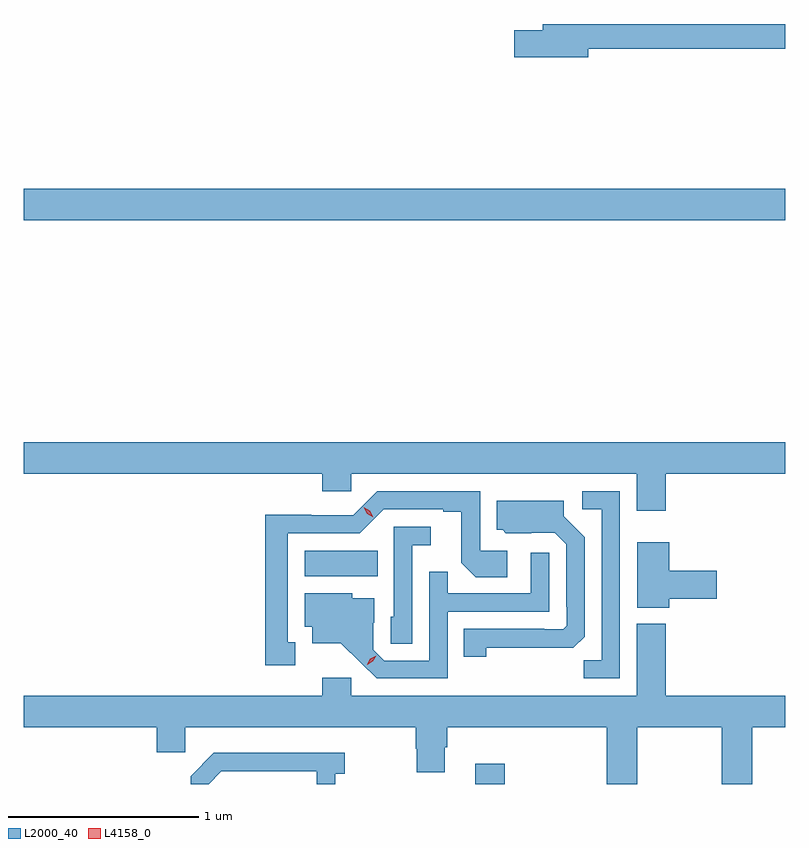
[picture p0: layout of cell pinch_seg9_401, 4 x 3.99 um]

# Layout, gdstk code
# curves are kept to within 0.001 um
import gdstk
lib = gdstk.Library(unit=1e-6, precision=1e-09)
def R(c, l, rs):  # rectangles x0, y0, x1, y1
    for r in rs: c.add(gdstk.rectangle(r[:2], r[2:], *l))
def P(c, l, *ps):  # polygons
    for p in ps: c.add(gdstk.Polygon(p, *l))
L2000_40 = (2000, 40)
L4158_0 = (4158, 0)

pinch_seg9_401 = lib.new_cell('pinch_seg9_401')
R(pinch_seg9_401, L2000_40, [(233.951,1222.761,234.107,1222.867), (233.054,1223.852,233.438,1223.986), (231.579,1225.724,235.579,1225.888)])
P(pinch_seg9_401, L2000_40, [(234.544,1226.626),(235.579,1226.626),(235.579,1226.755),(234.305,1226.755),(234.305,1226.721),(234.156,1226.721),(234.156,1226.579),(234.544,1226.579)],
  [(234.953,1224.392),(235.579,1224.392),(235.579,1224.556),(231.579,1224.556),(231.579,1224.392),(233.147,1224.392),(233.147,1224.299),(233.298,1224.299),(233.298,1224.392),(234.8,1224.392),(234.8,1224.198),(234.953,1224.198)],
  [(234.711,1224.3),(234.513,1224.3),(234.513,1224.204),(234.615,1224.204),(234.615,1223.411),(234.52,1223.411),(234.52,1223.316),(234.711,1223.316)],
  [(233.005,1223.505),(232.966,1223.505),(232.966,1224.078),(233.343,1224.078),(233.469,1224.204),(233.783,1224.204),(233.783,1224.192),(233.877,1224.192),(233.877,1223.924),(233.953,1223.848),(234.118,1223.848),(234.118,1223.988),(233.976,1223.988),(233.976,1224.3),(233.436,1224.3),(233.31,1224.174),(233.088,1224.174),(233.088,1224.176),(232.848,1224.176),(232.848,1223.385),(233.005,1223.385)],
  [(234.009,1223.476),(234.466,1223.477),(234.525,1223.536),(234.525,1224.058),(234.415,1224.168),(234.415,1224.25),(234.065,1224.25),(234.065,1224.096),(234.096,1224.096),(234.112,1224.08),(234.369,1224.081),(234.429,1224.021),(234.429,1223.692),(234.432,1223.692),(234.432,1223.592),(234.414,1223.574),(234.314,1223.574),(234.314,1223.577),(233.89,1223.577),(233.89,1223.43),(234.009,1223.43)],
  [(233.619,1224.017),(233.716,1224.017),(233.716,1224.114),(233.523,1224.114),(233.523,1223.64),(233.508,1223.64),(233.508,1223.497),(233.619,1223.497)],
  [(234.97,1223.735),(235.219,1223.735),(235.219,1223.882),(234.97,1223.882),(234.97,1224.031),(234.803,1224.031),(234.803,1223.687),(234.97,1223.687)],
  [(233.805,1223.667),(234.339,1223.667),(234.339,1223.977),(234.243,1223.977),(234.243,1223.763),(233.807,1223.763),(233.807,1223.876),(233.709,1223.876),(233.709,1223.409),(233.472,1223.409),(233.415,1223.466),(233.415,1223.608),(233.419,1223.608),(233.419,1223.737),(233.304,1223.737),(233.304,1223.764),(233.054,1223.764),(233.054,1223.588),(233.093,1223.588),(233.093,1223.501),(233.245,1223.501),(233.432,1223.316),(233.805,1223.316)],
  [(234.801,1223.06),(235.246,1223.06),(235.246,1222.761),(235.406,1222.761),(235.406,1223.06),(235.579,1223.06),(235.579,1223.224),(234.953,1223.224),(234.953,1223.602),(234.8,1223.602),(234.8,1223.224),(233.298,1223.224),(233.298,1223.32),(233.147,1223.32),(233.147,1223.224),(231.579,1223.224),(231.579,1223.06),(232.277,1223.06),(232.277,1222.929),(232.428,1222.929),(232.428,1223.06),(233.639,1223.06),(233.639,1222.947),(233.644,1222.947),(233.644,1222.822),(233.791,1222.822),(233.791,1222.954),(233.804,1222.954),(233.804,1223.06),(234.641,1223.06),(234.641,1222.761),(234.801,1222.761)],
  [(232.617,1222.827),(233.117,1222.827),(233.117,1222.761),(233.214,1222.761),(233.214,1222.814),(233.266,1222.814),(233.266,1222.924),(232.576,1222.924),(232.455,1222.803),(232.455,1222.761),(232.551,1222.761)])
P(pinch_seg9_401, L4158_0, [(233.382,1223.389),(233.382,1223.39),(233.399,1223.42),(233.43,1223.435),(233.43,1223.435),(233.43,1223.435),(233.413,1223.405),(233.382,1223.389)],
  [(233.415,1224.164),(233.383,1224.182),(233.365,1224.215),(233.365,1224.215),(233.365,1224.215),(233.397,1224.196),(233.415,1224.164),(233.415,1224.164)])

lib.write_gds('pinch_seg9_401.gds')
